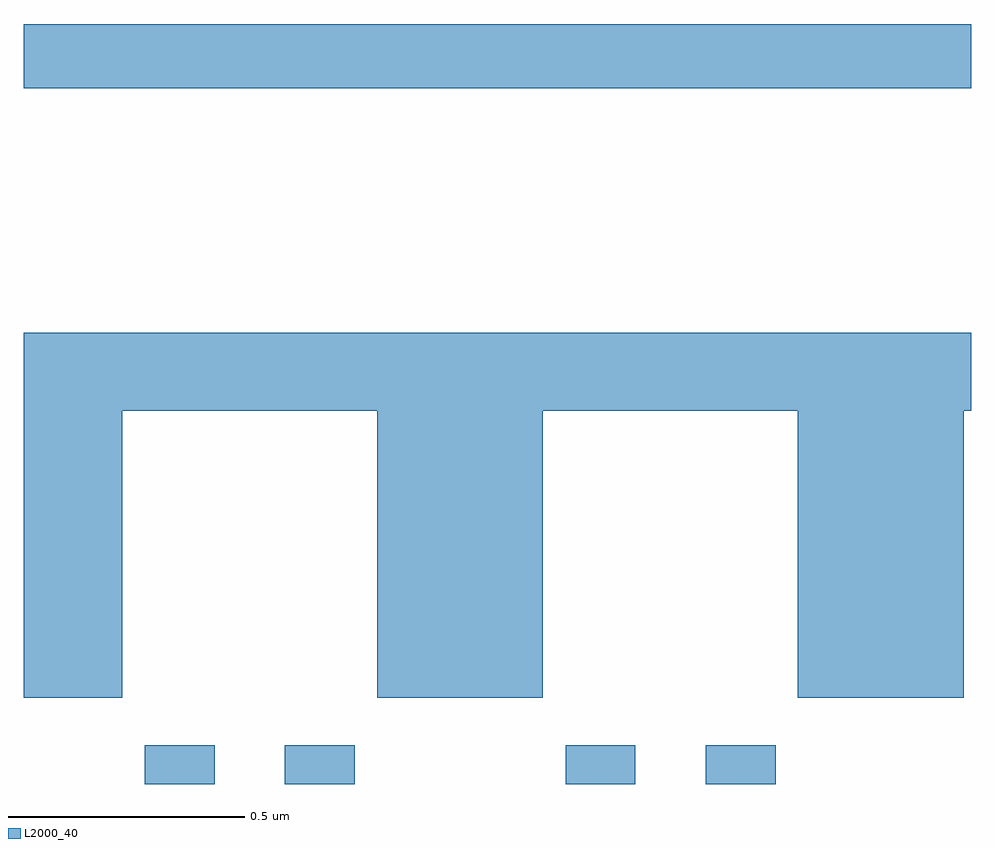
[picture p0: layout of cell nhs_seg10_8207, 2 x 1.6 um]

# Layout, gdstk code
import gdstk
lib = gdstk.Library(unit=1e-6, precision=1e-09)
def R(c, l, rs):  # rectangles x0, y0, x1, y1
    for r in rs: c.add(gdstk.rectangle(r[:2], r[2:], *l))
def P(c, l, *ps):  # polygons
    for p in ps: c.add(gdstk.Polygon(p, *l))
L2000_40 = (2000, 40)

nhs_seg10_8207 = lib.new_cell('nhs_seg10_8207')
R(nhs_seg10_8207, L2000_40, [(213.256,1327.5,213.403,1327.582), (213.551,1327.5,213.699,1327.582), (214.144,1327.5,214.291,1327.582), (214.439,1327.5,214.587,1327.582), (213,1328.968,215,1329.104)])
P(nhs_seg10_8207, L2000_40, [(213.208,1328.288),(213.746,1328.288),(213.746,1327.682),(214.096,1327.682),(214.096,1328.288),(214.634,1328.288),(214.634,1327.682),(214.984,1327.682),(214.984,1328.288),(215,1328.288),(215,1328.452),(213,1328.452),(213,1327.682),(213.208,1327.682)])

lib.write_gds('nhs_seg10_8207.gds')
